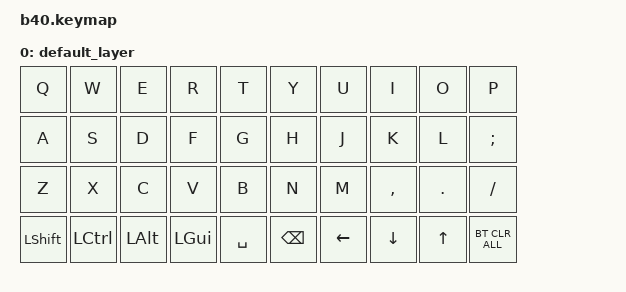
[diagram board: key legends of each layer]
// This file was generated from a template. Edit it to match your keyboard.
// See https://zmk.dev/docs/development/hardware-integration/new-shield for more instructions.

#include <behaviors.dtsi>
#include <dt-bindings/zmk/bt.h>
#include <dt-bindings/zmk/keys.h>

/ {
    keymap {
        compatible = "zmk,keymap";

        default_layer {
            bindings = <
                &kp Q     &kp W    &kp E    &kp R    &kp T    &kp Y    &kp U    &kp I    &kp O    &kp P
                &kp A     &kp S    &kp D    &kp F    &kp G    &kp H    &kp J    &kp K    &kp L    &kp SEMI
                &kp Z     &kp X    &kp C    &kp V    &kp B    &kp N    &kp M    &kp COMMA &kp DOT  &kp FSLH
                &kp LSHFT &kp LCTL &kp LALT &kp LGUI &kp SPACE &kp BSPC &kp LEFT &kp DOWN &kp UP   &bt BT_CLR_ALL
            >;
        };
    };
};
